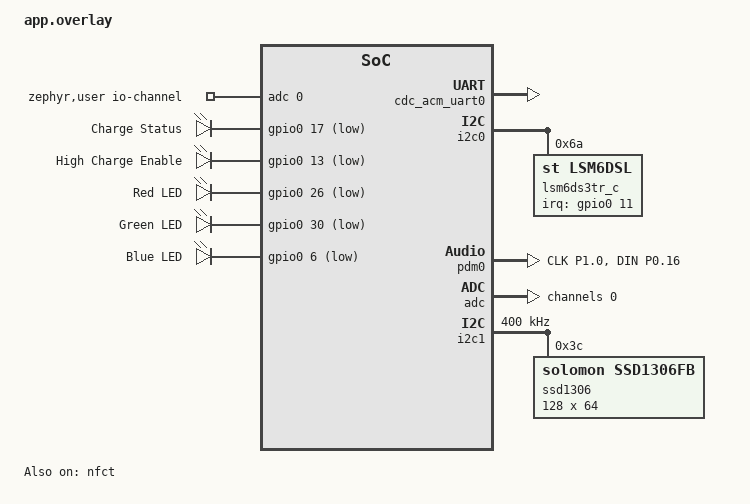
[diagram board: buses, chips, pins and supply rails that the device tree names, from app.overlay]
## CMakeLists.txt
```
cmake_minimum_required(VERSION 3.20.0)

find_package(Zephyr REQUIRED HINTS $ENV{ZEPHYR_BASE})
project(nRF52_BLE_Sensorbase)

target_sources(app PRIVATE src/main.c src/qrcodegen.c src/adpcm.c src/audio_stream.c)
```

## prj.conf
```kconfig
# Minimal Config
CONFIG_BT=y
CONFIG_BT_PERIPHERAL=y
CONFIG_BT_DEVICE_NAME="Skynet AI Beacon"

# WICHTIG: Controller muss an sein
# CONFIG_BT_LL_SW_SPLIT=y

# OLED Display (SSD1306 128x64 I2C, via GPIO Bitbang)
CONFIG_DISPLAY=y
CONFIG_SSD1306=y

# Enable Serial/Console
CONFIG_SERIAL=y
CONFIG_CONSOLE=y
CONFIG_UART_CONSOLE=y
CONFIG_UART_LINE_CTRL=y

# Enable Logging
CONFIG_LOG=y
CONFIG_PRINTK=y
CONFIG_LOG_MODE_DEFERRED=n
CONFIG_LOG_PROCESS_THREAD_STARTUP_DELAY_MS=0

# Enable USB Stack (Legacy)
CONFIG_USB_DEVICE_STACK=y
CONFIG_USB_DEVICE_STACK_NEXT=n
CONFIG_USB_DEVICE_PRODUCT="XIAO BLE Console"
CONFIG_USB_DEVICE_VID=0x2886
CONFIG_USB_DEVICE_PID=0x802f
CONFIG_USB_DEVICE_INITIALIZE_AT_BOOT=n

# USB Composite Device Settings
CONFIG_USB_COMPOSITE_DEVICE=n
CONFIG_USB_MASS_STORAGE=n
CONFIG_USB_DEVICE_BLUETOOTH=n
CONFIG_USB_DEVICE_REMOTE_WAKEUP=n
CONFIG_USB_CDC_ACM=y
CONFIG_USB_DEVICE_SN="XIAO-IMU-001"

# GPIO is usually needed
CONFIG_GPIO=y
CONFIG_REGULATOR=y
CONFIG_REGULATOR_FIXED=y

# Sensors (LSM6DS3TR-C compatible with LSM6DSL)
CONFIG_I2C=y
CONFIG_SENSOR=y
CONFIG_LSM6DSL=y
CONFIG_LSM6DSL_TRIGGER_GLOBAL_THREAD=y
CONFIG_CBPRINTF_FP_SUPPORT=y

# FPU Support
CONFIG_FPU=y
CONFIG_FPU_SHARING=y

# Audio / PDM Microphone
CONFIG_AUDIO=y
CONFIG_AUDIO_DMIC=y
CONFIG_AUDIO_DMIC_NRFX_PDM=y
CONFIG_NRFX_PDM=y
CONFIG_MAIN_STACK_SIZE=4096
CONFIG_HEAP_MEM_POOL_SIZE=32768
CONFIG_SYSTEM_WORKQUEUE_STACK_SIZE=4096

# Bluetooth Audio Profile (LE Audio)
CONFIG_BT_AUDIO=y
CONFIG_BT_BAP_UNICAST_SERVER=y
CONFIG_BT_ASCS=y
CONFIG_BT_ISO_PERIPHERAL=y
CONFIG_BT_ISO_MAX_CHAN=5

# NFC Configuration / Libraries
CONFIG_NFC_T2T_NRFXLIB=y
CONFIG_NFC_NDEF=y
CONFIG_NFC_NDEF_MSG=y
CONFIG_NFC_NDEF_RECORD=y
CONFIG_NFC_NDEF_URI_MSG=y
CONFIG_NFC_NDEF_URI_REC=y
CONFIG_NFC_NDEF_LE_OOB_REC=y
CONFIG_NRFX_NFCT=y
CONFIG_NFC_PLATFORM=y

# TX Power Configuration
# Default to 0dBm for safety/standard compliant (only boot default)
CONFIG_BT_CTLR_TX_PWR_0=y

# Enable HCI VS Commands for setting TX Power (Nordic Specific)
CONFIG_BT_HCI_VS=y
CONFIG_BT_CTLR_ADVANCED_FEATURES=y
CONFIG_BT_CTLR_TX_PWR_DYNAMIC_CONTROL=y

# Battery Monitoring (ADC)
CONFIG_ADC=y

# Settings Subsystem (Flash Persistence)
CONFIG_SETTINGS=y

# Bluetooth GATT Cache Fix
CONFIG_BT_GATT_SERVICE_CHANGED=y

# Bluetooth Performance & Stability (High-Throughput Audio Streaming)
CONFIG_BT_MAX_CONN=3
CONFIG_BT_MAX_PAIRED=3
CONFIG_BT_L2CAP_TX_BUF_COUNT=60
CONFIG_BT_BUF_ACL_TX_COUNT=40
CONFIG_BT_BUF_EVT_RX_COUNT=45
CONFIG_BT_CONN_TX_MAX=60

# BLE Connection Parameter Optimization (Aggressiver für Audio-Streaming)
CONFIG_BT_PERIPHERAL_PREF_MIN_INT=6
CONFIG_BT_PERIPHERAL_PREF_MAX_INT=12
CONFIG_BT_PERIPHERAL_PREF_LATENCY=0
CONFIG_BT_PERIPHERAL_PREF_TIMEOUT=100
CONFIG_BT_GAP_AUTO_UPDATE_CONN_PARAMS=y

# Bluetooth 5 Features (2M PHY + Max Data Length)
CONFIG_BT_USER_PHY_UPDATE=y
CONFIG_BT_USER_DATA_LEN_UPDATE=y
CONFIG_BT_CTLR_PHY_2M=y
CONFIG_BT_CTLR_DATA_LENGTH_MAX=69

# GATT Client (MTU Exchange)
CONFIG_BT_GATT_CLIENT=y



# Bluetooth Security – GATT ohne AUTHEN (kein Pairing nötig, vermeidet Windows-Bonding-Konflikt)
CONFIG_BT_SMP=y
CONFIG_BT_FIXED_PASSKEY=y
```

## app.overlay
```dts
/ {
	chosen {
		zephyr,console = &cdc_acm_uart0;
		zephyr,shell-uart = &cdc_acm_uart0;
		zephyr,bt-mon-uart = &cdc_acm_uart0;
		zephyr,bt-c2h-uart = &cdc_acm_uart0; 
	};

	aliases {
		imu = &lsm6ds3tr_c;
		mic = &pdm0;
	       charge-status = &charge_stat_pin;
	       charge-enable-high = &charge_high_pin;
	       led0 = &led_red;
	       led1 = &led_green;
	       led2 = &led_blue;
	};
    
    zephyr,user {
        io-channels = <&adc 0>;
    };
    
    leds {
        compatible = "gpio-leds";
        charge_stat_pin: charge_stat_pin {
            gpios = <&gpio0 17 GPIO_ACTIVE_LOW>;
            label = "Charge Status";
        };
        charge_high_pin: charge_high_pin {
            gpios = <&gpio0 13 GPIO_ACTIVE_LOW>;
            label = "High Charge Enable";
        };
        led_red: led_red {
            gpios = <&gpio0 26 GPIO_ACTIVE_LOW>;
            label = "Red LED";
        };
        led_green: led_green {
            gpios = <&gpio0 30 GPIO_ACTIVE_LOW>;
            label = "Green LED";
        };
        led_blue: led_blue {
            gpios = <&gpio0 6 GPIO_ACTIVE_LOW>;
            label = "Blue LED";
        };
    };

    oled_vcc_pin: oled_vcc_pin {
        gpios = <&gpio1 11 (GPIO_ACTIVE_HIGH | NRF_GPIO_DRIVE_H0H1)>;
        label = "OLED VCC";
    };
};

&zephyr_udc0 {
	cdc_acm_uart0: cdc_acm_uart0 {
		compatible = "zephyr,cdc-acm-uart";
	};
};

/* I2C0: Internal sensor bus (IMU) */
&i2c0 {
    status = "okay";
    lsm6ds3tr_c: lsm6ds3tr-c@6a {
        compatible = "st,lsm6dsl";
        reg = <0x6a>;
        irq-gpios = <&gpio0 11 GPIO_ACTIVE_HIGH>; /* P0.11 - INT1 */
        status = "okay";
    };
};

/* --- Microphone Regulator (P1.10) + PDM Configuration --- */

/ {
	msm261d3526hicpm-c-en {
		regulator-boot-on;
	};
};

&pdm0 {
	status = "okay";
	pinctrl-0 = <&pdm0_default>;
	pinctrl-1 = <&pdm0_sleep>;
	pinctrl-names = "default", "sleep";
	clock-source = "PCLK32M";
	queue-size = <24>;
};

&pinctrl {
	pdm0_default: pdm0_default {
		group1 {
			psels = <NRF_PSEL(PDM_CLK, 1, 0)>,
				<NRF_PSEL(PDM_DIN, 0, 16)>;
		};
	};
	pdm0_sleep: pdm0_sleep {
		group1 {
			psels = <NRF_PSEL(PDM_CLK, 1, 0)>,
				<NRF_PSEL(PDM_DIN, 0, 16)>;
			low-power-enable;
		};
	};
};

/* ADC Configuration for Battery Monitoring (AIN7 = P0.31) */
&adc {
	status = "okay";
    #address-cells = <1>;
    #size-cells = <0>;

	channel@0 {
		reg = <0>;
		zephyr,gain = "ADC_GAIN_1_6";
		zephyr,reference = "ADC_REF_INTERNAL";
		zephyr,acquisition-time = <ADC_ACQ_TIME_DEFAULT>;
		zephyr,input-positive = <NRF_SAADC_AIN7>; /* P0.31 */
		zephyr,resolution = <14>;
        zephyr,oversampling = <4>; 
	};
};

&nfct {
	status = "okay";
};

/* UART0 deaktivieren, da P1.11 (TX) als OLED VCC verwendet wird */
&uart0 {
    status = "disabled";
};

/* I2C1: Hardware-TWIM für OLED (P0.04=SDA, P0.05=SCL, 400kHz Fast Mode)
   Pinctrl+Pins sind bereits in xiao_ble-pinctrl.dtsi definiert */
&i2c1 {
	compatible = "nordic,nrf-twim";
	clock-frequency = <I2C_BITRATE_FAST>;
	pinctrl-0 = <&i2c1_default>;
	pinctrl-1 = <&i2c1_sleep>;
	pinctrl-names = "default", "sleep";
	zephyr,concat-buf-size = <1056>;

	ssd1306: ssd1306@3c {
		compatible = "solomon,ssd1306fb";
		reg = <0x3c>;
		width = <128>;
		height = <64>;
		segment-offset = <0>;
		page-offset = <0>;
		display-offset = <0>;
		multiplex-ratio = <63>;
		segment-remap;
		com-invdir;
		prechargep = <0x22>;
		status = "okay";
	};
};
```

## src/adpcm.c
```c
#include "adpcm.h"

static const int16_t step_size_table[89] = {
	7, 8, 9, 10, 11, 12, 13, 14,
	16, 17, 19, 21, 23, 25, 28, 31,
	34, 37, 41, 45, 50, 55, 60, 66,
	73, 80, 88, 97, 107, 118, 130, 143,
	157, 173, 190, 209, 230, 253, 279, 307,
	337, 371, 408, 449, 494, 544, 598, 658,
	724, 796, 876, 963, 1060, 1166, 1282, 1411,
	1552, 1707, 1878, 2066, 2272, 2499, 2749, 3024,
	3327, 3660, 4026, 4428, 4871, 5358, 5894, 6484,
	7132, 7845, 8630, 9493, 10442, 11487, 12635, 13899,
	15289, 16818, 18500, 20350, 22385, 24623, 27086, 29794,
	32767
};

static const int8_t index_adjust[8] = { -1, -1, -1, -1, 2, 4, 6, 8 };

void adpcm_encode(struct adpcm_state *state, const int16_t *pcm, uint8_t *adpcm, size_t sample_count)
{
	int16_t predictor = state->predictor;
	uint8_t step_index = state->step_index;
	size_t byte_idx = 0;

	for (size_t i = 0; i < sample_count; i++) {
		int32_t diff = (int32_t)pcm[i] - predictor;
		uint8_t nibble = 0;

		if (diff < 0) {
			nibble = 8;
			diff = -diff;
		}

		int16_t step = step_size_table[step_index];
		int32_t delta = step >> 3;

		if (diff >= step) {
			nibble |= 4;
			diff -= step;
			delta += step;
		}
		step >>= 1;
		if (diff >= step) {
			nibble |= 2;
			diff -= step;
			delta += step;
		}
		step >>= 1;
		if (diff >= step) {
			nibble |= 1;
			delta += step;
		}

		if (nibble & 8) {
			predictor -= delta;
		} else {
			predictor += delta;
		}

		if (predictor > 32767) predictor = 32767;
		if (predictor < -32768) predictor = -32768;

		step_index += index_adjust[nibble & 7];
		if (step_index < 0) step_index = 0;
		if (step_index > 88) step_index = 88;

		if (i & 1) {
			adpcm[byte_idx] |= nibble;
			byte_idx++;
		} else {
			adpcm[byte_idx] = nibble << 4;
		}
	}

	if (sample_count & 1) {
		byte_idx++;
	}

	state->predictor = predictor;
	state->step_index = step_index;
}

void adpcm_decode(struct adpcm_state *state, const uint8_t *adpcm, int16_t *pcm, size_t sample_count)
{
	int16_t predictor = state->predictor;
	uint8_t step_index = state->step_index;

	for (size_t i = 0; i < sample_count; i++) {
		uint8_t nibble;

		if (i & 1) {
			nibble = adpcm[i / 2] & 0x0F;
		} else {
			nibble = (adpcm[i / 2] >> 4) & 0x0F;
		}

		int32_t diff = 0;
		int16_t step = step_size_table[step_index];

		if (nibble & 4) diff += step;
		if (nibble & 2) diff += step >> 1;
		if (nibble & 1) diff += step >> 2;
		diff += step >> 3;

		if (nibble & 8) {
			predictor -= diff;
		} else {
			predictor += diff;
		}

		if (predictor > 32767) predictor = 32767;
		if (predictor < -32768) predictor = -32768;

		step_index += index_adjust[nibble & 7];
		if (step_index < 0) step_index = 0;
		if (step_index > 88) step_index = 88;

		pcm[i] = predictor;
	}

	state->predictor = predictor;
	state->step_index = step_index;
}
```

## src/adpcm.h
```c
#ifndef ADPCM_H
#define ADPCM_H

#include <stdint.h>
#include <stddef.h>

struct adpcm_state {
	int16_t predictor;
	uint8_t step_index;
};

void adpcm_encode(struct adpcm_state *state, const int16_t *pcm, uint8_t *adpcm, size_t sample_count);

void adpcm_decode(struct adpcm_state *state, const uint8_t *adpcm, int16_t *pcm, size_t sample_count);

#endif
```

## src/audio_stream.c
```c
#include <zephyr/kernel.h>
#include <zephyr/device.h>
#include <zephyr/drivers/gpio.h>
#include <zephyr/bluetooth/gatt.h>
#include <zephyr/audio/dmic.h>
#include <zephyr/sys/byteorder.h>
#include <stdlib.h>
#include <string.h>
#include <math.h>
#include <stdio.h>

#include "audio_stream.h"
#include "adpcm.h"

#define AUDIO_GAIN_DEFAULT 8.0f

#define AUDIO_SAMPLE_RATE 16000
#define AUDIO_SAMPLES_PER_BLOCK 512
#define AUDIO_BLOCK_SIZE (AUDIO_SAMPLES_PER_BLOCK * sizeof(int16_t))

#define ADPCM_SAMPLES_PER_NOTIFY 120
#define ADPCM_BYTES_PER_NOTIFY (ADPCM_SAMPLES_PER_NOTIFY / 2)
#define NOTIFY_HEADER_SIZE 1
#define NOTIFY_PAYLOAD_SIZE (NOTIFY_HEADER_SIZE + ADPCM_BYTES_PER_NOTIFY)

#define MIC_PWR_PIN 10

struct stream_ctx {
	struct audio_stream_config cfg;
	struct adpcm_state adpcm;
	uint8_t seq;
	struct k_mem_slab *slab;
};

static void audio_stream_thread_impl(void *p1, void *p2, void *p3)
{
	struct stream_ctx *ctx = (struct stream_ctx *)p1;
	struct audio_stream_config *cfg = &ctx->cfg;
	int ret;
	bool mic_powered = false;

	while (1) {
		if (device_is_ready(cfg->gpio1_dev)) {
			if (!mic_powered) {
				gpio_pin_configure(cfg->gpio1_dev, MIC_PWR_PIN, GPIO_OUTPUT_HIGH);
				gpio_pin_set(cfg->gpio1_dev, MIC_PWR_PIN, 1);
				k_msleep(100);
				mic_powered = true;
			}
		} else {
			printk("AUDIO_STREAM: gpio1_dev not ready\n");
			k_sleep(K_SECONDS(1));
			continue;
		}

		if (!device_is_ready(cfg->mic_dev)) {
			printk("AUDIO_STREAM: mic_dev not ready\n");
			k_sleep(K_SECONDS(1));
			continue;
		}

		if (!cfg->mem_slab) {
			printk("AUDIO_STREAM: no mem_slab provided\n");
			k_sleep(K_SECONDS(1));
			continue;
		}
		ctx->slab = cfg->mem_slab;

		struct pcm_stream_cfg stream_cfg = {
			.pcm_rate = AUDIO_SAMPLE_RATE,
			.pcm_width = 16,
			.block_size = AUDIO_BLOCK_SIZE,
			.mem_slab = ctx->slab,
		};

		struct dmic_cfg dcfg;
		memset(&dcfg, 0, sizeof(dcfg));
		dcfg.io.min_pdm_clk_freq = 1000000;
		dcfg.io.max_pdm_clk_freq = 3200000;
		dcfg.streams = &stream_cfg;
		dcfg.channel.req_chan_map_lo = dmic_build_channel_map(0, 0, PDM_CHAN_LEFT);
		dcfg.channel.req_num_chan = 1;
		dcfg.channel.req_num_streams = 1;

		int dmic_init_retries = 0;
		while (dmic_init_retries < 10) {
			if (dmic_configure(cfg->mic_dev, &dcfg) == 0) {
				break;
			}
			printk("AUDIO_STREAM: dmic_configure failed (retry %d)\n", dmic_init_retries);
			dmic_init_retries++;
			k_sleep(K_MSEC(200));
		}
		if (dmic_init_retries >= 10) {
			printk("AUDIO_STREAM: dmic_configure giving up, retry later\n");
			k_sleep(K_SECONDS(5));
			continue;
		}

		dmic_init_retries = 0;
		while (dmic_init_retries < 5) {
			if (dmic_trigger(cfg->mic_dev, DMIC_TRIGGER_START) == 0) {
				break;
			}
			printk("AUDIO_STREAM: dmic_trigger failed (retry %d)\n", dmic_init_retries);
			dmic_init_retries++;
			k_sleep(K_MSEC(200));
		}
		if (dmic_init_retries >= 5) {
			printk("AUDIO_STREAM: dmic_trigger giving up\n");
			dmic_trigger(cfg->mic_dev, DMIC_TRIGGER_STOP);
			k_sleep(K_SECONDS(5));
			continue;
		}

		memset(&ctx->adpcm, 0, sizeof(ctx->adpcm));
		ctx->seq = 0;

		printk("AUDIO_STREAM: PDM streaming started at %u Hz\n", AUDIO_SAMPLE_RATE);

		uint8_t adpcm_buf[AUDIO_SAMPLES_PER_BLOCK / 2];
		uint8_t notify_buf[NOTIFY_PAYLOAD_SIZE];

		while (1) {
			void *buffer;
			size_t size;
			ret = dmic_read(cfg->mic_dev, 0, &buffer, &size, SYS_FOREVER_MS);
			if (ret != 0) {
				printk("AUDIO_STREAM: DMIC read error: %d\n", ret);
				dmic_trigger(cfg->mic_dev, DMIC_TRIGGER_STOP);
				k_msleep(100);
				break;
			}

			int16_t *samples = (int16_t *)buffer;
			uint32_t count = size / sizeof(int16_t);

			for (uint32_t i = 0; i < count; i++) {
				const float fwGain = (ctx->cfg.oled_settings && ctx->cfg.oled_settings->mic_gain > 0)
					? (float)ctx->cfg.oled_settings->mic_gain
					: AUDIO_GAIN_DEFAULT;
				int32_t g = (int32_t)(samples[i] * fwGain);
				if (g > 32767) g = 32767;
				if (g < -32768) g = -32768;
				samples[i] = (int16_t)g;
			}

			adpcm_encode(&ctx->adpcm, samples, adpcm_buf, count);

			double sum_sq = 0;
			uint32_t zero_crossings = 0;
			int16_t last_sample = 0;

			for (uint32_t i = 0; i < count; i++) {
				double val = (double)samples[i] / 32768.0;
				sum_sq += val * val;

				if (i > 0) {
					if ((samples[i] > 0 && last_sample < 0) ||
					    (samples[i] < 0 && last_sample > 0)) {
						zero_crossings++;
					}
				}
				last_sample = samples[i];
			}

			double rms = sqrt(sum_sq / (double)count);

			uint32_t rms_raw = (uint32_t)(rms * 1000.0);
			sys_put_le32(rms_raw, &cfg->audio_level_buf[0]);
			sys_put_le32(zero_crossings, &cfg->audio_level_buf[4]);

			static double smoothed_rms = 0.0;
			const double decay_factor = 0.885;
			const double attack_factor = 0.12;

			if (rms > smoothed_rms) {
				smoothed_rms = (attack_factor * rms) + ((1.0 - attack_factor) * smoothed_rms);
			} else {
				smoothed_rms *= decay_factor;
			}

			if (cfg->oled_settings->led_enable &&
			    gpio_is_ready_dt(cfg->led_red) &&
			    gpio_is_ready_dt(cfg->led_green) &&
			    gpio_is_ready_dt(cfg->led_blue)) {
				if (smoothed_rms < 0.004) {
					gpio_pin_set_dt(cfg->led_red, 0);
					gpio_pin_set_dt(cfg->led_green, 0);
					gpio_pin_set_dt(cfg->led_blue, 0);
				} else if (smoothed_rms < 0.012) {
					gpio_pin_set_dt(cfg->led_red, 0);
					gpio_pin_set_dt(cfg->led_green, 1);
					gpio_pin_set_dt(cfg->led_blue, 1);
				} else if (smoothed_rms < 0.025) {
					gpio_pin_set_dt(cfg->led_red, 0);
					gpio_pin_set_dt(cfg->led_green, 1);
					gpio_pin_set_dt(cfg->led_blue, 0);
				} else if (smoothed_rms < 0.045) {
					gpio_pin_set_dt(cfg->led_red, 1);
					gpio_pin_set_dt(cfg->led_green, 1);
					gpio_pin_set_dt(cfg->led_blue, 0);
				} else {
					gpio_pin_set_dt(cfg->led_red, 1);
					gpio_pin_set_dt(cfg->led_green, 0);
					gpio_pin_set_dt(cfg->led_blue, 0);
				}
			}

			for (uint32_t offset = 0; offset < count; offset += ADPCM_SAMPLES_PER_NOTIFY) {
				uint32_t chunk_samples = ADPCM_SAMPLES_PER_NOTIFY;
				if (offset + chunk_samples > count) {
					chunk_samples = count - offset;
				}

				uint32_t chunk_bytes = chunk_samples / 2;
				uint32_t notify_len = NOTIFY_HEADER_SIZE + chunk_bytes;

				notify_buf[0] = 0x80 | ctx->seq;
				ctx->seq = (ctx->seq + 1) & 0x7F;
				memcpy(&notify_buf[1], &adpcm_buf[offset / 2], chunk_bytes);

				if (*cfg->deepsleep_send_once_audio) {
					*cfg->deepsleep_send_once_audio = false;
					bt_gatt_notify(NULL, &cfg->gatt_attrs[cfg->audio_stream_val_idx],
						       notify_buf, notify_len);
					bt_gatt_notify(NULL, &cfg->gatt_attrs[cfg->audio_val_idx],
						       cfg->audio_level_buf, 8);
				} else if (*cfg->bt_connected && !*cfg->deepsleep_block_notify) {
					int notify_ret;
					do {
						notify_ret = bt_gatt_notify(NULL,
							&cfg->gatt_attrs[cfg->audio_stream_val_idx],
							notify_buf, notify_len);
						if (notify_ret == -ENOBUFS) {
							k_yield();
						}
					} while (notify_ret == -ENOBUFS);
					if (notify_ret < 0 && notify_ret != -ENOTCONN) {
						printk("AUDIO_STREAM: notify err %d\n", notify_ret);
					}

					bt_gatt_notify(NULL, &cfg->gatt_attrs[cfg->audio_val_idx],
						       cfg->audio_level_buf, 8);
				}
			}

			k_mem_slab_free(ctx->slab, buffer);

			if (k_uptime_get_32() % 2000 < 100) {
				printk("AUDIO_STREAM: seq=%u rms=%u zcr=%u\n",
				       ctx->seq, rms_raw, zero_crossings);
			}
		}
	}
}

K_THREAD_STACK_DEFINE(audio_stream_stack, 3072);
static struct k_thread audio_stream_thread_data;
static struct stream_ctx audio_stream_ctx;

void audio_stream_start(const struct audio_stream_config *cfg)
{
	audio_stream_ctx.cfg = *cfg;
	audio_stream_ctx.seq = 0;
	memset(&audio_stream_ctx.adpcm, 0, sizeof(audio_stream_ctx.adpcm));
	audio_stream_ctx.slab = cfg->mem_slab;

	k_thread_create(&audio_stream_thread_data, audio_stream_stack,
			K_THREAD_STACK_SIZEOF(audio_stream_stack),
			audio_stream_thread_impl, &audio_stream_ctx, NULL, NULL,
			2, K_FP_REGS, K_NO_WAIT);
}
```

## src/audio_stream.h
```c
#ifndef AUDIO_STREAM_H
#define AUDIO_STREAM_H

#include <zephyr/kernel.h>
#include <zephyr/device.h>
#include <zephyr/drivers/gpio.h>
#include <zephyr/toolchain.h>
#include <stdint.h>
#include <stdbool.h>

struct bt_gatt_attr;

struct oled_settings {
	uint8_t beacon_dwell_s;
	uint8_t qr_dwell_s;
	uint8_t imu_dwell_s;
	uint8_t power_dwell_s;
	uint8_t mic_dwell_s;
	uint8_t view_override;
	uint8_t qr_enable;
	uint8_t contrast;
	uint8_t invert;
	uint8_t display_sleep_min;
	uint8_t led_enable;
	uint8_t deepsleep_enable;
	uint8_t deepsleep_interval;
	uint8_t deepsleep_oled;
	int8_t tx_power;
	uint8_t mic_gain;
} __packed;

struct audio_stream_config {
	const struct device *mic_dev;
	const struct device *gpio1_dev;
	const struct gpio_dt_spec *led_red;
	const struct gpio_dt_spec *led_green;
	const struct gpio_dt_spec *led_blue;
	uint8_t *audio_level_buf;
	struct k_mem_slab *mem_slab;
	const struct bt_gatt_attr *gatt_attrs;
	uint16_t audio_val_idx;
	uint16_t audio_stream_val_idx;
	volatile bool *bt_connected;
	volatile bool *deepsleep_block_notify;
	volatile bool *deepsleep_send_once_audio;
	volatile bool *live_audio_active;
	struct oled_settings *oled_settings;
};

void audio_stream_start(const struct audio_stream_config *cfg);

#endif
```

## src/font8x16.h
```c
#ifndef FONT8X16_H
#define FONT8X16_H

#include <stdint.h>

static const uint8_t font8x16[95][16] = {
	{0x00,0x00,0x00,0x00,0x00,0x00,0x00,0x00,0x00,0x00,0x00,0x00,0x00,0x00,0x00,0x00},
	{0x00,0x00,0x18,0x3C,0x3C,0x3C,0x18,0x18,0x18,0x00,0x18,0x18,0x00,0x00,0x00,0x00},
	{0x00,0x66,0x66,0x66,0x24,0x00,0x00,0x00,0x00,0x00,0x00,0x00,0x00,0x00,0x00,0x00},
	{0x00,0x00,0x00,0x14,0x36,0x7F,0x36,0x36,0x7F,0x36,0x14,0x00,0x00,0x00,0x00,0x00},
	{0x00,0x08,0x1E,0x28,0x48,0x3C,0x0A,0x09,0x3E,0x08,0x08,0x00,0x00,0x00,0x00,0x00},
	{0x00,0x00,0x00,0x61,0x91,0x92,0x64,0x08,0x13,0x25,0x49,0x43,0x00,0x00,0x00,0x00},
	{0x00,0x00,0x1C,0x22,0x22,0x1C,0x38,0x4C,0x46,0x42,0x22,0x7C,0x00,0x00,0x00,0x00},
	{0x00,0x18,0x18,0x18,0x08,0x00,0x00,0x00,0x00,0x00,0x00,0x00,0x00,0x00,0x00,0x00},
	{0x00,0x04,0x08,0x10,0x10,0x20,0x20,0x20,0x20,0x10,0x10,0x08,0x04,0x00,0x00,0x00},
	{0x00,0x20,0x10,0x08,0x08,0x04,0x04,0x04,0x04,0x08,0x08,0x10,0x20,0x00,0x00,0x00},
	{0x00,0x00,0x00,0x08,0x1C,0x3E,0x08,0x3E,0x1C,0x08,0x00,0x00,0x00,0x00,0x00,0x00},
	{0x00,0x00,0x00,0x08,0x08,0x08,0x7F,0x08,0x08,0x08,0x00,0x00,0x00,0x00,0x00,0x00},
	{0x00,0x00,0x00,0x00,0x00,0x00,0x00,0x00,0x00,0x18,0x18,0x18,0x08,0x10,0x00,0x00},
	{0x00,0x00,0x00,0x00,0x00,0x00,0x00,0x7E,0x00,0x00,0x00,0x00,0x00,0x00,0x00,0x00},
	{0x00,0x00,0x00,0x00,0x00,0x00,0x00,0x00,0x00,0x18,0x18,0x18,0x00,0x00,0x00,0x00},
	{0x00,0x01,0x02,0x02,0x04,0x04,0x08,0x10,0x10,0x20,0x20,0x40,0x40,0x80,0x00,0x00},
	{0x00,0x00,0x3C,0x42,0x46,0x4A,0x52,0x62,0x42,0x42,0x42,0x3C,0x00,0x00,0x00,0x00},
	{0x00,0x00,0x08,0x18,0x28,0x08,0x08,0x08,0x08,0x08,0x08,0x3E,0x00,0x00,0x00,0x00},
	{0x00,0x00,0x3C,0x42,0x42,0x02,0x04,0x08,0x10,0x20,0x40,0x7E,0x00,0x00,0x00,0x00},
	{0x00,0x00,0x3C,0x42,0x02,0x02,0x1C,0x02,0x02,0x02,0x42,0x3C,0x00,0x00,0x00,0x00},
	{0x00,0x00,0x04,0x0C,0x14,0x24,0x44,0x7E,0x04,0x04,0x04,0x04,0x00,0x00,0x00,0x00},
	{0x00,0x00,0x7E,0x40,0x40,0x40,0x7C,0x02,0x02,0x02,0x42,0x3C,0x00,0x00,0x00,0x00},
	{0x00,0x00,0x1C,0x20,0x40,0x40,0x7C,0x42,0x42,0x42,0x42,0x3C,0x00,0x00,0x00,0x00},
	{0x00,0x00,0x7E,0x02,0x04,0x04,0x08,0x08,0x10,0x10,0x20,0x20,0x00,0x00,0x00,0x00},
	{0x00,0x00,0x3C,0x42,0x42,0x42,0x3C,0x42,0x42,0x42,0x42,0x3C,0x00,0x00,0x00,0x00},
	{0x00,0x00,0x3C,0x42,0x42,0x42,0x3E,0x02,0x02,0x02,0x04,0x38,0x00,0x00,0x00,0x00},
	{0x00,0x00,0x00,0x00,0x18,0x18,0x00,0x00,0x00,0x18,0x18,0x00,0x00,0x00,0x00,0x00},
	{0x00,0x00,0x00,0x00,0x18,0x18,0x00,0x00,0x00,0x18,0x18,0x08,0x10,0x00,0x00,0x00},
	{0x00,0x00,0x04,0x08,0x10,0x20,0x40,0x20,0x10,0x08,0x04,0x00,0x00,0x00,0x00,0x00},
	{0x00,0x00,0x00,0x00,0x00,0x3C,0x00,0x00,0x3C,0x00,0x00,0x00,0x00,0x00,0x00,0x00},
	{0x00,0x00,0x40,0x20,0x10,0x08,0x04,0x08,0x10,0x20,0x40,0x00,0x00,0x00,0x00,0x00},
	{0x00,0x00,0x3C,0x42,0x02,0x04,0x08,0x08,0x08,0x00,0x08,0x08,0x00,0x00,0x00,0x00},
	{0x00,0x00,0x3C,0x42,0x42,0x4E,0x52,0x52,0x4E,0x40,0x42,0x3C,0x00,0x00,0x00,0x00},
	{0x00,0x00,0x08,0x1C,0x14,0x14,0x22,0x22,0x3E,0x22,0x22,0x22,0x00,0x00,0x00,0x00},
	{0x00,0x00,0x7C,0x22,0x22,0x22,0x3C,0x22,0x22,0x22,0x22,0x7C,0x00,0x00,0x00,0x00},
	{0x00,0x00,0x1C,0x22,0x42,0x40,0x40,0x40,0x40,0x42,0x22,0x1C,0x00,0x00,0x00,0x00},
	{0x00,0x00,0x78,0x24,0x22,0x22,0x22,0x22,0x22,0x22,0x24,0x78,0x00,0x00,0x00,0x00},
	{0x00,0x00,0x7E,0x22,0x20,0x20,0x3C,0x20,0x20,0x20,0x22,0x7E,0x00,0x00,0x00,0x00},
	{0x00,0x00,0x7E,0x22,0x20,0x20,0x3C,0x20,0x20,0x20,0x20,0x70,0x00,0x00,0x00,0x00},
	{0x00,0x00,0x1C,0x22,0x42,0x40,0x40,0x4E,0x42,0x42,0x22,0x1C,0x00,0x00,0x00,0x00},
	{0x00,0x00,0x22,0x22,0x22,0x22,0x3E,0x22,0x22,0x22,0x22,0x22,0x00,0x00,0x00,0x00},
	{0x00,0x00,0x3E,0x08,0x08,0x08,0x08,0x08,0x08,0x08,0x08,0x3E,0x00,0x00,0x00,0x00},
	{0x00,0x00,0x0E,0x04,0x04,0x04,0x04,0x04,0x04,0x44,0x44,0x38,0x00,0x00,0x00,0x00},
	{0x00,0x00,0x62,0x22,0x24,0x28,0x30,0x30,0x28,0x24,0x22,0x62,0x00,0x00,0x00,0x00},
	{0x00,0x00,0x70,0x20,0x20,0x20,0x20,0x20,0x20,0x20,0x22,0x3E,0x00,0x00,0x00,0x00},
	{0x00,0x00,0x42,0x66,0x5A,0x5A,0x42,0x42,0x42,0x42,0x42,0x42,0x00,0x00,0x00,0x00},
	{0x00,0x00,0x42,0x62,0x52,0x4A,0x4A,0x46,0x42,0x42,0x42,0x42,0x00,0x00,0x00,0x00},
	{0x00,0x00,0x3C,0x42,0x42,0x42,0x42,0x42,0x42,0x42,0x42,0x3C,0x00,0x00,0x00,0x00},
	{0x00,0x00,0x7C,0x22,0x22,0x22,0x3C,0x20,0x20,0x20,0x20,0x70,0x00,0x00,0x00,0x00},
	{0x00,0x00,0x3C,0x42,0x42,0x42,0x42,0x42,0x42,0x5A,0x24,0x1A,0x00,0x00,0x00,0x00},
	{0x00,0x00,0x7C,0x22,0x22,0x22,0x3C,0x28,0x24,0x22,0x22,0x62,0x00,0x00,0x00,0x00},
	{0x00,0x00,0x3C,0x42,0x40,0x20,0x18,0x04,0x02,0x02,0x42,0x3C,0x00,0x00,0x00,0x00},
	{0x00,0x00,0x7F,0x49,0x08,0x08,0x08,0x08,0x08,0x08,0x08,0x1C,0x00,0x00,0x00,0x00},
	{0x00,0x00,0x22,0x22,0x22,0x22,0x22,0x22,0x22,0x22,0x22,0x3C,0x00,0x00,0x00,0x00},
	{0x00,0x00,0x22,0x22,0x22,0x22,0x22,0x22,0x22,0x14,0x14,0x08,0x00,0x00,0x00,0x00},
	{0x00,0x00,0x42,0x42,0x42,0x42,0x42,0x5A,0x5A,0x24,0x24,0x24,0x00,0x00,0x00,0x00},
	{0x00,0x00,0x42,0x42,0x24,0x24,0x18,0x18,0x24,0x24,0x42,0x42,0x00,0x00,0x00,0x00},
	{0x00,0x00,0x22,0x22,0x22,0x22,0x14,0x14,0x08,0x08,0x08,0x1C,0x00,0x00,0x00,0x00},
	{0x00,0x00,0x7E,0x06,0x06,0x0C,0x0C,0x18,0x18,0x30,0x30,0x7E,0x00,0x00,0x00,0x00},
	{0x00,0x1E,0x10,0x10,0x10,0x10,0x10,0x10,0x10,0x10,0x10,0x10,0x1E,0x00,0x00,0x00},
	{0x00,0x80,0x40,0x40,0x20,0x20,0x10,0x08,0x08,0x04,0x04,0x02,0x02,0x01,0x00,0x00},
	{0x00,0x78,0x08,0x08,0x08,0x08,0x08,0x08,0x08,0x08,0x08,0x08,0x78,0x00,0x00,0x00},
	{0x00,0x08,0x1C,0x14,0x22,0x00,0x00,0x00,0x00,0x00,0x00,0x00,0x00,0x00,0x00,0x00},
	{0x00,0x00,0x00,0x00,0x00,0x00,0x00,0x00,0x00,0x00,0x00,0x00,0x00,0x7E,0x00,0x00},
	{0x00,0x10,0x08,0x08,0x04,0x00,0x00,0x00,0x00,0x00,0x00,0x00,0x00,0x00,0x00,0x00},
	{0x00,0x00,0x00,0x00,0x00,0x3C,0x02,0x3E,0x42,0x46,0x3A,0x00,0x00,0x00,0x00,0x00},
	{0x00,0x00,0x60,0x20,0x20,0x2C,0x32,0x22,0x22,0x22,0x22,0x3C,0x00,0x00,0x00,0x00},
	{0x00,0x00,0x00,0x00,0x00,0x3C,0x42,0x40,0x40,0x42,0x22,0x1C,0x00,0x00,0x00,0x00},
	{0x00,0x00,0x06,0x04,0x04,0x1C,0x24,0x44,0x44,0x44,0x24,0x1E,0x00,0x00,0x00,0x00},
	{0x00,0x00,0x00,0x00,0x00,0x3C,0x42,0x7E,0x40,0x40,0x22,0x1C,0x00,0x00,0x00,0x00},
	{0x00,0x00,0x0C,0x12,0x10,0x10,0x7C,0x10,0x10,0x10,0x10,0x7C,0x00,0x00,0x00,0x00},
	{0x00,0x00,0x00,0x00,0x00,0x3A,0x44,0x44,0x44,0x38,0x40,0x3C,0x42,0x42,0x3C,0x00},
	{0x00,0x00,0x60,0x20,0x20,0x2C,0x32,0x22,0x22,0x22,0x22,0x62,0x00,0x00,0x00,0x00},
	{0x00,0x00,0x08,0x08,0x00,0x18,0x08,0x08,0x08,0x08,0x08,0x3E,0x00,0x00,0x00,0x00},
	{0x00,0x00,0x04,0x04,0x00,0x0C,0x04,0x04,0x04,0x04,0x04,0x44,0x44,0x38,0x00,0x00},
	{0x00,0x00,0x60,0x20,0x20,0x24,0x24,0x28,0x30,0x28,0x24,0x22,0x00,0x00,0x00,0x00},
	{0x00,0x00,0x18,0x08,0x08,0x08,0x08,0x08,0x08,0x08,0x08,0x3E,0x00,0x00,0x00,0x00},
	{0x00,0x00,0x00,0x00,0x00,0x76,0x49,0x49,0x49,0x49,0x49,0x00,0x00,0x00,0x00,0x00},
	{0x00,0x00,0x00,0x00,0x00,0x5C,0x22,0x22,0x22,0x22,0x22,0x00,0x00,0x00,0x00,0x00},
	{0x00,0x00,0x00,0x00,0x00,0x3C,0x42,0x42,0x42,0x42,0x42,0x3C,0x00,0x00,0x00,0x00},
	{0x00,0x00,0x00,0x00,0x00,0x5C,0x32,0x22,0x22,0x22,0x22,0x3C,0x20,0x20,0x70,0x00},
	{0x00,0x00,0x00,0x00,0x00,0x1C,0x24,0x44,0x44,0x44,0x24,0x1E,0x04,0x04,0x0E,0x00},
	{0x00,0x00,0x00,0x00,0x00,0x5C,0x32,0x22,0x20,0x20,0x20,0x70,0x00,0x00,0x00,0x00},
	{0x00,0x00,0x00,0x00,0x00,0x3C,0x42,0x30,0x0C,0x02,0x42,0x3C,0x00,0x00,0x00,0x00},
	{0x00,0x00,0x00,0x10,0x10,0x7E,0x10,0x10,0x10,0x10,0x12,0x0C,0x00,0x00,0x00,0x00},
	{0x00,0x00,0x00,0x00,0x00,0x44,0x44,0x44,0x44,0x44,0x24,0x1E,0x00,0x00,0x00,0x00},
	{0x00,0x00,0x00,0x00,0x00,0x22,0x22,0x22,0x22,0x14,0x14,0x08,0x00,0x00,0x00,0x00},
	{0x00,0x00,0x00,0x00,0x00,0x42,0x42,0x42,0x5A,0x5A,0x24,0x24,0x00,0x00,0x00,0x00},
	{0x00,0x00,0x00,0x00,0x00,0x42,0x24,0x18,0x18,0x18,0x24,0x42,0x00,0x00,0x00,0x00},
	{0x00,0x00,0x00,0x00,0x00,0x42,0x42,0x42,0x42,0x22,0x14,0x08,0x08,0x10,0x60,0x00},
	{0x00,0x00,0x00,0x00,0x00,0x7E,0x04,0x08,0x10,0x20,0x40,0x7E,0x00,0x00,0x00,0x00},
	{0x00,0x06,0x08,0x08,0x08,0x08,0x30,0x08,0x08,0x08,0x08,0x08,0x06,0x00,0x00,0x00},
	{0x00,0x08,0x08,0x08,0x08,0x08,0x00,0x08,0x08,0x08,0x08,0x08,0x08,0x00,0x00,0x00},
	{0x00,0x60,0x10,0x10,0x10,0x10,0x0C,0x10,0x10,0x10,0x10,0x10,0x60,0x00,0x00,0x00},
	{0x00,0x00,0x00,0x00,0x00,0x00,0x76,0xDC,0x00,0x00,0x00,0x00,0x00,0x00,0x00,0x00},
};

#endif
```

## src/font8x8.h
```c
#ifndef FONT8X8_H
#define FONT8X8_H

#include <stdint.h>

/* 8x8 bitmap font, ASCII 0x20-0x7E (95 chars) */
/* Each character: 8 bytes, one per row, bit7 = leftmost pixel */
static const uint8_t font8x8[95][8] = {
	{0x00, 0x00, 0x00, 0x00, 0x00, 0x00, 0x00, 0x00}, /* 0x20 ' ' */
	{0x00, 0x18, 0x18, 0x18, 0x18, 0x00, 0x18, 0x00}, /* 0x21 '!' */
	{0x00, 0x6C, 0x6C, 0x00, 0x00, 0x00, 0x00, 0x00}, /* 0x22 '"' */
	{0x00, 0x14, 0x7E, 0x14, 0x7E, 0x14, 0x00, 0x00}, /* 0x23 '#' */
	{0x00, 0x08, 0x3E, 0x28, 0x3E, 0x0A, 0x3E, 0x08}, /* 0x24 '$' */
	{0x00, 0x62, 0x64, 0x08, 0x10, 0x26, 0x46, 0x00}, /* 0x25 '%' */
	{0x00, 0x18, 0x24, 0x18, 0x2C, 0x24, 0x1A, 0x00}, /* 0x26 '&' */
	{0x00, 0x18, 0x18, 0x00, 0x00, 0x00, 0x00, 0x00}, /* 0x27 ''' */
	{0x00, 0x04, 0x08, 0x10, 0x10, 0x08, 0x04, 0x00}, /* 0x28 '(' */
	{0x00, 0x10, 0x08, 0x04, 0x04, 0x08, 0x10, 0x00}, /* 0x29 ')' */
	{0x00, 0x00, 0x08, 0x3E, 0x08, 0x14, 0x00, 0x00}, /* 0x2A '*' */
	{0x00, 0x00, 0x08, 0x08, 0x3E, 0x08, 0x08, 0x00}, /* 0x2B '+' */
	{0x00, 0x00, 0x00, 0x00, 0x00, 0x18, 0x18, 0x10}, /* 0x2C ',' */
	{0x00, 0x00, 0x00, 0x00, 0x7E, 0x00, 0x00, 0x00}, /* 0x2D '-' */
	{0x00, 0x00, 0x00, 0x00, 0x00, 0x18, 0x18, 0x00}, /* 0x2E '.' */
	{0x00, 0x02, 0x04, 0x08, 0x10, 0x20, 0x40, 0x00}, /* 0x2F '/' */
	{0x00, 0x3C, 0x66, 0x6E, 0x76, 0x66, 0x3C, 0x00}, /* 0x30 '0' */
	{0x00, 0x18, 0x38, 0x18, 0x18, 0x18, 0x7E, 0x00}, /* 0x31 '1' */
	{0x00, 0x3C, 0x66, 0x06, 0x0C, 0x30, 0x7E, 0x00}, /* 0x32 '2' */
	{0x00, 0x3C, 0x66, 0x06, 0x1C, 0x66, 0x3C, 0x00}, /* 0x33 '3' */
	{0x00, 0x0C, 0x1C, 0x2C, 0x4C, 0x7E, 0x0C, 0x00}, /* 0x34 '4' */
	{0x00, 0x7E, 0x60, 0x7C, 0x06, 0x66, 0x3C, 0x00}, /* 0x35 '5' */
	{0x00, 0x3C, 0x66, 0x60, 0x7C, 0x66, 0x3C, 0x00}, /* 0x36 '6' */
	{0x00, 0x7E, 0x06, 0x0C, 0x18, 0x30, 0x30, 0x00}, /* 0x37 '7' */
	{0x00, 0x3C, 0x66, 0x66, 0x3C, 0x66, 0x3C, 0x00}, /* 0x38 '8' */
	{0x00, 0x3C, 0x66, 0x66, 0x3E, 0x06, 0x3C, 0x00}, /* 0x39 '9' */
	{0x00, 0x00, 0x18, 0x18, 0x00, 0x18, 0x18, 0x00}, /* 0x3A ':' */
	{0x00, 0x00, 0x18, 0x18, 0x00, 0x18, 0x18, 0x10}, /* 0x3B ';' */
	{0x00, 0x00, 0x04, 0x08, 0x10, 0x08, 0x04, 0x00}, /* 0x3C '<' */
	{0x00, 0x00, 0x00, 0x7E, 0x00, 0x7E, 0x00, 0x00}, /* 0x3D '=' */
	{0x00, 0x00, 0x10, 0x08, 0x04, 0x08, 0x10, 0x00}, /* 0x3E '>' */
	{0x00, 0x3C, 0x66, 0x06, 0x0C, 0x00, 0x0C, 0x00}, /* 0x3F '?' */
	{0x00, 0x3C, 0x66, 0x6E, 0x6E, 0x60, 0x3C, 0x00}, /* 0x40 '@' */
	{0x00, 0x18, 0x3C, 0x66, 0x66, 0x7E, 0x66, 0x00}, /* 0x41 'A' */
	{0x00, 0x7C, 0x66, 0x66, 0x7C, 0x66, 0x7C, 0x00}, /* 0x42 'B' */
	{0x00, 0x3C, 0x66, 0x60, 0x60, 0x66, 0x3C, 0x00}, /* 0x43 'C' */
	{0x00, 0x78, 0x6C, 0x66, 0x66, 0x6C, 0x78, 0x00}, /* 0x44 'D' */
	{0x00, 0x7E, 0x60, 0x60, 0x7C, 0x60, 0x7E, 0x00}, /* 0x45 'E' */
	{0x00, 0x7E, 0x60, 0x60, 0x7C, 0x60, 0x60, 0x00}, /* 0x46 'F' */
	{0x00, 0x3C, 0x66, 0x60, 0x6E, 0x66, 0x3C, 0x00}, /* 0x47 'G' */
	{0x00, 0x66, 0x66, 0x66, 0x7E, 0x66, 0x66, 0x00}, /* 0x48 'H' */
	{0x00, 0x3C, 0x18, 0x18, 0x18, 0x18, 0x3C, 0x00}, /* 0x49 'I' */
	{0x00, 0x1E, 0x0C, 0x0C, 0x0C, 0x6C, 0x38, 0x00}, /* 0x4A 'J' */
	{0x00, 0x66, 0x6C, 0x78, 0x70, 0x78, 0x6C, 0x00}, /* 0x4B 'K' */
	{0x00, 0x60, 0x60, 0x60, 0x60, 0x60, 0x7E, 0x00}, /* 0x4C 'L' */
	{0x00, 0x42, 0x66, 0x7E, 0x7E, 0x66, 0x66, 0x00}, /* 0x4D 'M' */
	{0x00, 0x66, 0x76, 0x7E, 0x6E, 0x66, 0x66, 0x00}, /* 0x4E 'N' */
	{0x00, 0x3C, 0x66, 0x66, 0x66, 0x66, 0x3C, 0x00}, /* 0x4F 'O' */
	{0x00, 0x7C, 0x66, 0x66, 0x7C, 0x60, 0x60, 0x00}, /* 0x50 'P' */
	{0x00, 0x3C, 0x66, 0x66, 0x6E, 0x3C, 0x06, 0x00}, /* 0x51 'Q' */
	{0x00, 0x7C, 0x66, 0x66, 0x7C, 0x6C, 0x66, 0x00}, /* 0x52 'R' */
	{0x00, 0x3C, 0x66, 0x60, 0x3C, 0x06, 0x7C, 0x00}, /* 0x53 'S' */
	{0x00, 0x7E, 0x18, 0x18, 0x18, 0x18, 0x18, 0x00}, /* 0x54 'T' */
	{0x00, 0x66, 0x66, 0x66, 0x66, 0x66, 0x3C, 0x00}, /* 0x55 'U' */
	{0x00, 0x66, 0x66, 0x66, 0x66, 0x3C, 0x18, 0x00}, /* 0x56 'V' */
	{0x00, 0x66, 0x66, 0x66, 0x7E, 0x7E, 0x66, 0x00}, /* 0x57 'W' */
	{0x00, 0x66, 0x66, 0x3C, 0x3C, 0x66, 0x66, 0x00}, /* 0x58 'X' */
	{0x00, 0x66, 0x66, 0x3C, 0x18, 0x18, 0x18, 0x00}, /* 0x59 'Y' */
	{0x00, 0x7E, 0x06, 0x0C, 0x18, 0x30, 0x7E, 0x00}, /* 0x5A 'Z' */
	{0x00, 0x1E, 0x18, 0x18, 0x18, 0x18, 0x1E, 0x00}, /* 0x5B '[' */
	{0x00, 0x40, 0x20, 0x10, 0x08, 0x04, 0x02, 0x00}, /* 0x5C '\' */
	{0x00, 0x78, 0x18, 0x18, 0x18, 0x18, 0x78, 0x00}, /* 0x5D ']' */
	{0x00, 0x08, 0x1C, 0x36, 0x63, 0x00, 0x00, 0x00}, /* 0x5E '^' */
	{0x00, 0x00, 0x00, 0x00, 0x00, 0x00, 0x7F, 0x00}, /* 0x5F '_' */
	{0x00, 0x10, 0x08, 0x00, 0x00, 0x00, 0x00, 0x00}, /* 0x60 '`' */
	{0x00, 0x00, 0x00, 0x3C, 0x06, 0x7E, 0x66, 0x00}, /* 0x61 'a' */
	{0x00, 0x60, 0x60, 0x7C, 0x66, 0x66, 0x7C, 0x00}, /* 0x62 'b' */
	{0x00, 0x00, 0x00, 0x3C, 0x60, 0x60, 0x3C, 0x00}, /* 0x63 'c' */
	{0x00, 0x06, 0x06, 0x3E, 0x66, 0x66, 0x3E, 0x00}, /* 0x64 'd' */
	{0x00, 0x00, 0x00, 0x3C, 0x66, 0x7C, 0x3C, 0x00}, /* 0x65 'e' */
	{0x00, 0x1C, 0x30, 0x7C, 0x30, 0x30, 0x30, 0x00}, /* 0x66 'f' */
	{0x00, 0x00, 0x00, 0x3E, 0x66, 0x3E, 0x06, 0x7C}, /* 0x67 'g' */
	{0x00, 0x60, 0x60, 0x7C, 0x66, 0x66, 0x66, 0x00}, /* 0x68 'h' */
	{0x00, 0x18, 0x00, 0x18, 0x18, 0x18, 0x3C, 0x00}, /* 0x69 'i' */
	{0x00, 0x0C, 0x00, 0x0C, 0x0C, 0x0C, 0x6C, 0x38}, /* 0x6A 'j' */
	{0x00, 0x60, 0x60, 0x6C, 0x78, 0x6C, 0x66, 0x00}, /* 0x6B 'k' */
	{0x00, 0x18, 0x18, 0x18, 0x18, 0x18, 0x3C, 0x00}, /* 0x6C 'l' */
	{0x00, 0x00, 0x00, 0x6C, 0x7E, 0x66, 0x66, 0x00}, /* 0x6D 'm' */
	{0x00, 0x00, 0x00, 0x7C, 0x66, 0x66, 0x66, 0x00}, /* 0x6E 'n' */
	{0x00, 0x00, 0x00, 0x3C, 0x66, 0x66, 0x3C, 0x00}, /* 0x6F 'o' */
	{0x00, 0x00, 0x00, 0x7C, 0x66, 0x7C, 0x60, 0x60}, /* 0x70 'p' */
	{0x00, 0x00, 0x00, 0x3E, 0x66, 0x3E, 0x06, 0x06}, /* 0x71 'q' */
	{0x00, 0x00, 0x00, 0x7C, 0x66, 0x60, 0x60, 0x00}, /* 0x72 'r' */
	{0x00, 0x00, 0x00, 0x3E, 0x60, 0x3C, 0x7E, 0x00}, /* 0x73 's' */
	{0x00, 0x30, 0x30, 0x7C, 0x30, 0x30, 0x1C, 0x00}, /* 0x74 't' */
	{0x00, 0x00, 0x00, 0x66, 0x66, 0x66, 0x3E, 0x00}, /* 0x75 'u' */
	{0x00, 0x00, 0x00, 0x66, 0x66, 0x3C, 0x18, 0x00}, /* 0x76 'v' */
	{0x00, 0x00, 0x00, 0x66, 0x66, 0x7E, 0x66, 0x00}, /* 0x77 'w' */
	{0x00, 0x00, 0x00, 0x66, 0x3C, 0x3C, 0x66, 0x00}, /* 0x78 'x' */
	{0x00, 0x00, 0x00, 0x66, 0x66, 0x3E, 0x06, 0x7C}, /* 0x79 'y' */
	{0x00, 0x00, 0x00, 0x7E, 0x0C, 0x30, 0x7E, 0x00}, /* 0x7A 'z' */
	{0x00, 0x0E, 0x18, 0x30, 0x18, 0x0E, 0x00, 0x00}, /* 0x7B '{' */
	{0x00, 0x18, 0x18, 0x18, 0x18, 0x18, 0x18, 0x00}, /* 0x7C '|' */
	{0x00, 0x70, 0x18, 0x0C, 0x18, 0x70, 0x00, 0x00}, /* 0x7D '}' */
	{0x00, 0x00, 0x00, 0x00, 0x76, 0xDC, 0x00, 0x00}, /* 0x7E '~' */
};

#endif /* FONT8X8_H */
```

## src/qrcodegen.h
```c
/* 
 * QR Code generator library (C)
 * 
 * Copyright (c) Project Nayuki. (MIT License)
 * https://www.nayuki.io/page/qr-code-generator-library
 * 
 * Permission is hereby granted, free of charge, to any person obtaining a copy of
 * this software and associated documentation files (the "Software"), to deal in
 * the Software without restriction, including without limitation the rights to
 * use, copy, modify, merge, publish, distribute, sublicense, and/or sell copies of
 * the Software, and to permit persons to whom the Software is furnished to do so,
 * subject to the following conditions:
 * - The above copyright notice and this permission notice shall be included in
 *   all copies or substantial portions of the Software.
 * - The Software is provided "as is", without warranty of any kind, express or
 *   implied, including but not limited to the warranties of merchantability,
 *   fitness for a particular purpose and noninfringement. In no event shall the
 *   authors or copyright holders be liable for any claim, damages or other
 *   liability, whether in an action of contract, tort or otherwise, arising from,
 *   out of or in connection with the Software or the use or other dealings in the
 *   Software.
 */

#pragma once

#include <stdbool.h>
#include <stddef.h>
#include <stdint.h>


#ifdef __cplusplus
extern "C" {
#endif


/* 
 * This library creates QR Code symbols, which is a type of two-dimension barcode.
 * Invented by Denso Wave and described in the ISO/IEC 18004 standard.
 * A QR Code structure is an immutable square grid of dark and light cells.
 * The library provides functions to create a QR Code from text or binary data.
 * The library covers the QR Code Model 2 specification, supporting all versions (sizes)
 * from 1 to 40, all 4 error correction levels, and 4 character encoding modes.
 * 
 * Ways to create a QR Code object:
 * - High level: Take the payload data and call qrcodegen_encodeText() or qrcodegen_encodeBinary().
 * - Low level: Custom-make the list of segments and call
 *   qrcodegen_encodeSegments() or qrcodegen_encodeSegmentsAdvanced().
 * (Note that all ways require supplying the desired error correction level and various byte buffers.)
 */


/*---- Enum and struct types----*/

/* 
 * The error correction level in a QR Code symbol.
 */
enum qrcodegen_Ecc {
	qrcodegen_Ecc_LOW = 0 ,
	qrcodegen_Ecc_MEDIUM  ,
	qrcodegen_Ecc_QUARTILE,
	qrcodegen_Ecc_HIGH    ,
};


/* 
 * The mask pattern used in a QR Code symbol.
 */
enum qrcodegen_Mask {
	qrcodegen_Mask_AUTO = -1,
	qrcodegen_Mask_0 = 0,
	qrcodegen_Mask_1,
	qrcodegen_Mask_2,
	qrcodegen_Mask_3,
	qrcodegen_Mask_4,
	qrcodegen_Mask_5,
	qrcodegen_Mask_6,
	qrcodegen_Mask_7,
};


/* 
 * Describes how a segment's data bits are interpreted.
 */
enum qrcodegen_Mode {
	qrcodegen_Mode_NUMERIC      = 0x1,
	qrcodegen_Mode_ALPHANUMERIC = 0x2,
	qrcodegen_Mode_BYTE         = 0x4,
	qrcodegen_Mode_KANJI        = 0x8,
	qrcodegen_Mode_ECI          = 0x7,
};


/* 
 * A segment of character/binary/control data in a QR Code symbol.
 */
struct qrcodegen_Segment {
	enum qrcodegen_Mode mode;
	int numChars;
	uint8_t *data;
	int bitLength;
};


/*---- Macro constants and functions ----*/

#define qrcodegen_VERSION_MIN   1
#define qrcodegen_VERSION_MAX  40

#define qrcodegen_BUFFER_LEN_FOR_VERSION(n)  ((((n) * 4 + 17) * ((n) * 4 + 17) + 7) / 8 + 1)

#define qrcodegen_BUFFER_LEN_MAX  qrcodegen_BUFFER_LEN_FOR_VERSION(qrcodegen_VERSION_MAX)



/*---- Functions (high level) to generate QR Codes ----*/

bool qrcodegen_encodeText(const char *text, uint8_t tempBuffer[], uint8_t qrcode[],
	enum qrcodegen_Ecc ecl, int minVersion, int maxVersion, enum qrcodegen_Mask mask, bool boostEcl);


bool qrcodegen_encodeBinary(uint8_t dataAndTemp[], size_t dataLen, uint8_t qrcode[],
	enum qrcodegen_Ecc ecl, int minVersion, int maxVersion, enum qrcodegen_Mask mask, bool boostEcl);


/*---- Functions (low level) to generate QR Codes ----*/

bool qrcodegen_encodeSegments(const struct qrcodegen_Segment segs[], size_t len,
	enum qrcodegen_Ecc ecl, uint8_t tempBuffer[], uint8_t qrcode[]);


bool qrcodegen_encodeSegmentsAdvanced(const struct qrcodegen_Segment segs[], size_t len, enum qrcodegen_Ecc ecl,
	int minVersion, int maxVersion, enum qrcodegen_Mask mask, bool boostEcl, uint8_t tempBuffer[], uint8_t qrcode[]);


bool qrcodegen_isNumeric(const char *text);


bool qrcodegen_isAlphanumeric(const char *text);


size_t qrcodegen_calcSegmentBufferSize(enum qrcodegen_Mode mode, size_t numChars);


struct qrcodegen_Segment qrcodegen_makeBytes(const uint8_t data[], size_t len, uint8_t buf[]);


struct qrcodegen_Segment qrcodegen_makeNumeric(const char *digits, uint8_t buf[]);


struct qrcodegen_Segment qrcodegen_makeAlphanumeric(const char *text, uint8_t buf[]);


struct qrcodegen_Segment qrcodegen_makeEci(long assignVal, uint8_t buf[]);


/*---- Functions to extract raw data from QR Codes ----*/

int qrcodegen_getSize(const uint8_t qrcode[]);


bool qrcodegen_getModule(const uint8_t qrcode[], int x, int y);


#ifdef __cplusplus
}
#endif
```
